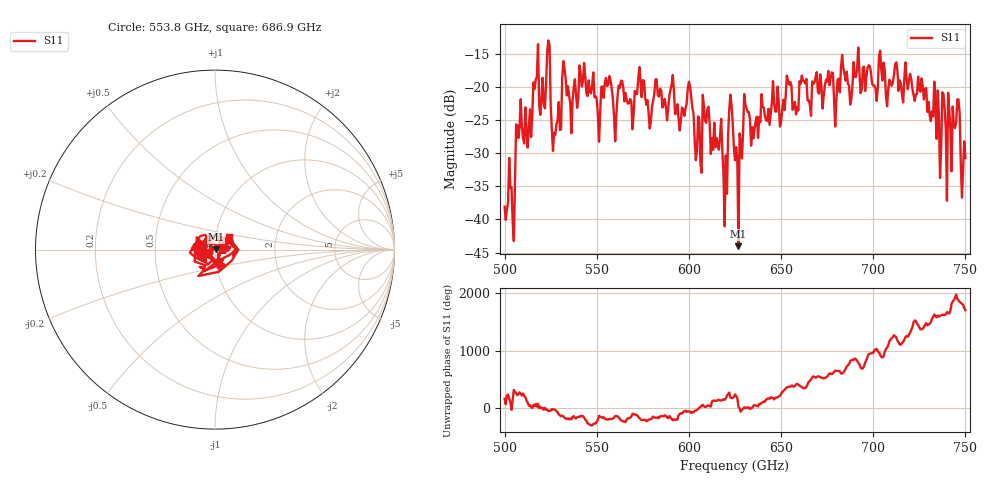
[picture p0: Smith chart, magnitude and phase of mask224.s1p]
!Created with skrf (http://scikit-rf.org).
# GHz S MA R 50.0
!freq magS11 angS11
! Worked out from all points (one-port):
!   401 points, 500 GHz to 750 GHz, reference 50 ohm
!   lowest |S11| = -44.0 dB at 626.9 GHz (marker M1), VSWR 1.01, Z = 50.6 + j0.224 ohm
!   |S11| at or under -10 dB: start of sweep to end of sweep
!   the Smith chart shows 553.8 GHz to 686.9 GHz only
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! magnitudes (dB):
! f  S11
! 500 GHz  -38.1
! 504.4 GHz  -40.4
! 507.5 GHz  -27.7
! 513.8 GHz  -23.4
! 516.9 GHz  -18.9
! 520.6 GHz  -18.6
! 523.8 GHz  -13.0
! 526.9 GHz  -26.9
! 531.2 GHz  -18.7
! 556.2 GHz  -19.6
! 560 GHz  -28.2
! 562.5 GHz  -20.2
! 593.8 GHz  -22.6
! 600.6 GHz  -19.9
! 605.6 GHz  -24.8
! 608.8 GHz  -25.1
! 619.4 GHz  -41.0
! 622.5 GHz  -21.2
! 625 GHz  -31.1
! 626.9 GHz  -44.0
! 631.2 GHz  -23.2
! 635 GHz  -27.8
! 656.2 GHz  -23.5
! 687.5 GHz  -22.7
! 718.8 GHz  -20.3
! 735.6 GHz  -24.3
! 745.6 GHz  -21.9
! 750 GHz  -30.7
